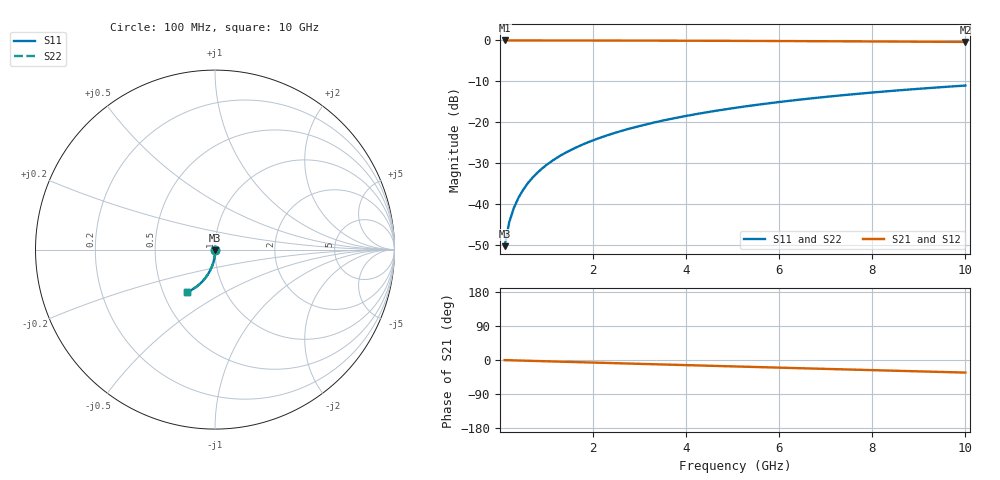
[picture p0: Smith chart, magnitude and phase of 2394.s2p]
# Hz S RI R 50.00
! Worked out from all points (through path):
!   100 points, 100 MHz to 10 GHz, reference 50 ohm
!   highest |S21| = -0.01 dB at 100 MHz (marker M1); lowest = -0.4 dB at 10 GHz (marker M2)
!   group delay of S21, straight-line fit = 9.24 ps
!   lowest |S11| = -50.2 dB at 100 MHz (marker M3), VSWR 1.01, Z = 50.1 - j0.304 ohm
!   |S11| at or under -10 dB: start of sweep to end of sweep
!   |S22| runs from -50.2 to -11.0 dB; largest |S21 - S12| = 0
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1e8  0.000629 -0.00303  0.9993 -0.00589  0.9993 -0.00589  0.000629 -0.00303
2e8  0.000576 -0.00607  0.9992 -0.0118  0.9992 -0.0118  0.000576 -0.00607
3e8  0.000485 -0.0091  0.9991 -0.0177  0.9991 -0.0177  0.000485 -0.0091
4e8  0.000358 -0.0121  0.999 -0.0236  0.999 -0.0236  0.000358 -0.0121
5e8  0.000196 -0.0152  0.9988 -0.0295  0.9988 -0.0295  0.000196 -0.0152
6e8  -3.18e-06 -0.0182  0.9985 -0.0353  0.9985 -0.0353  -3.18e-06 -0.0182
7e8  -0.000238 -0.0212  0.9982 -0.0412  0.9982 -0.0412  -0.000238 -0.0212
8e8  -0.000508 -0.0242  0.9979 -0.0471  0.9979 -0.0471  -0.000508 -0.0242
9e8  -0.000814 -0.0273  0.9975 -0.053  0.9975 -0.053  -0.000814 -0.0273
1.1e9  -0.00153 -0.0333  0.9966 -0.0647  0.9966 -0.0647  -0.00153 -0.0333
1.4e9  -0.00288 -0.0423  0.995 -0.0823  0.995 -0.0823  -0.00288 -0.0423
1.8e9  -0.00517 -0.0542  0.9921 -0.1057  0.9921 -0.1057  -0.00517 -0.0542
2.1e9  -0.00725 -0.0631  0.9896 -0.1231  0.9896 -0.1231  -0.00725 -0.0631
2.5e9  -0.0105 -0.0748  0.9855 -0.1463  0.9855 -0.1463  -0.0105 -0.0748
2.9e9  -0.0143 -0.0863  0.9808 -0.1693  0.9808 -0.1693  -0.0143 -0.0863
3.4e9  -0.0198 -0.1004  0.974 -0.1977  0.974 -0.1977  -0.0198 -0.1004
4.2e9  -0.0303 -0.1222  0.961 -0.2425  0.961 -0.2425  -0.0303 -0.1222
5.1e9  -0.0444 -0.1453  0.9434 -0.2915  0.9434 -0.2915  -0.0444 -0.1453
5.9e9  -0.0588 -0.1644  0.9253 -0.3337  0.9253 -0.3337  -0.0588 -0.1644
6.7e9  -0.0748 -0.182  0.905 -0.3745  0.905 -0.3745  -0.0748 -0.182
8.4e9  -0.1134 -0.2138  0.8553 -0.4556  0.8553 -0.4556  -0.1134 -0.2138
1e10  -0.1539 -0.2359  0.8019 -0.5246  0.8019 -0.5246  -0.1539 -0.2359
